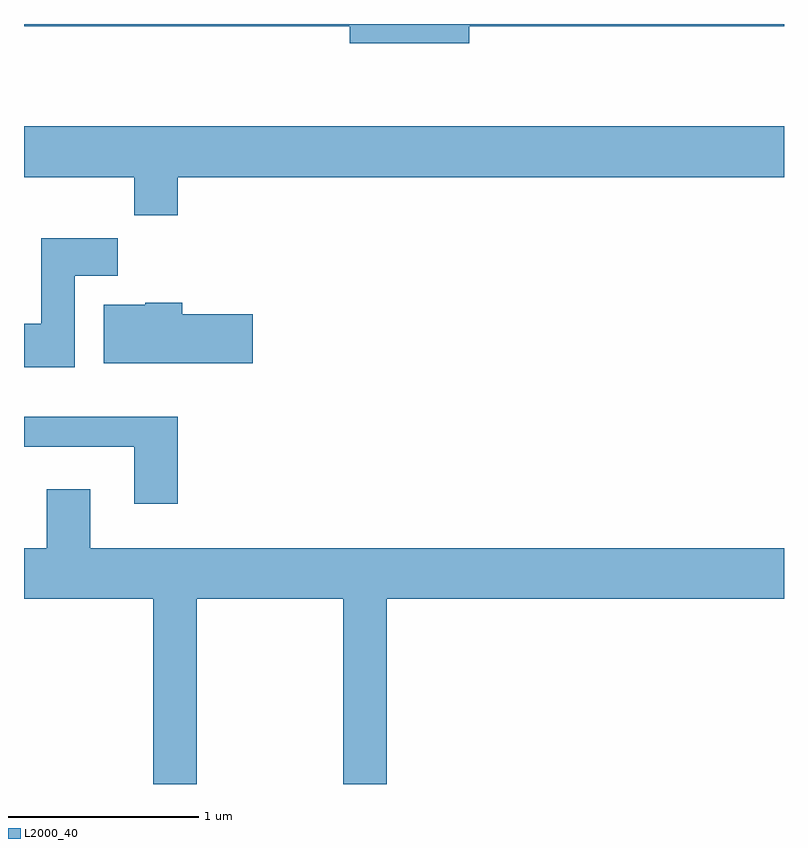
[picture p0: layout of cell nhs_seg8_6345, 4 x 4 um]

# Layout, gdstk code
import gdstk
lib = gdstk.Library(unit=1e-6, precision=1e-09)
def P(c, l, *ps):  # polygons
    for p in ps: c.add(gdstk.Polygon(p, *l))
L2000_40 = (2000, 40)

nhs_seg8_6345 = lib.new_cell('nhs_seg8_6345')
P(nhs_seg8_6345, L2000_40, [(377.954,1828.331),(379.611,1828.331),(379.611,1828.342),(375.611,1828.342),(375.611,1828.331),(377.326,1828.331),(377.326,1828.241),(377.954,1828.241)],
  [(376.419,1827.536),(379.611,1827.536),(379.611,1827.804),(375.611,1827.804),(375.611,1827.536),(376.191,1827.536),(376.191,1827.336),(376.419,1827.336)],
  [(375.879,1827.016),(376.104,1827.016),(376.104,1827.214),(375.701,1827.214),(375.701,1826.764),(375.611,1826.764),(375.611,1826.536),(375.879,1826.536)],
  [(376.814,1826.814),(376.444,1826.814),(376.444,1826.874),(376.25,1826.874),(376.25,1826.864),(376.031,1826.864),(376.031,1826.556),(376.814,1826.556)],
  [(376.419,1826.274),(375.611,1826.274),(375.611,1826.116),(376.191,1826.116),(376.191,1825.816),(376.419,1825.816)],
  [(376.519,1825.316),(377.291,1825.316),(377.291,1824.342),(377.519,1824.342),(377.519,1825.316),(379.611,1825.316),(379.611,1825.584),(375.959,1825.584),(375.959,1825.894),(375.731,1825.894),(375.731,1825.584),(375.611,1825.584),(375.611,1825.316),(376.291,1825.316),(376.291,1824.342),(376.519,1824.342)])

lib.write_gds('nhs_seg8_6345.gds')
